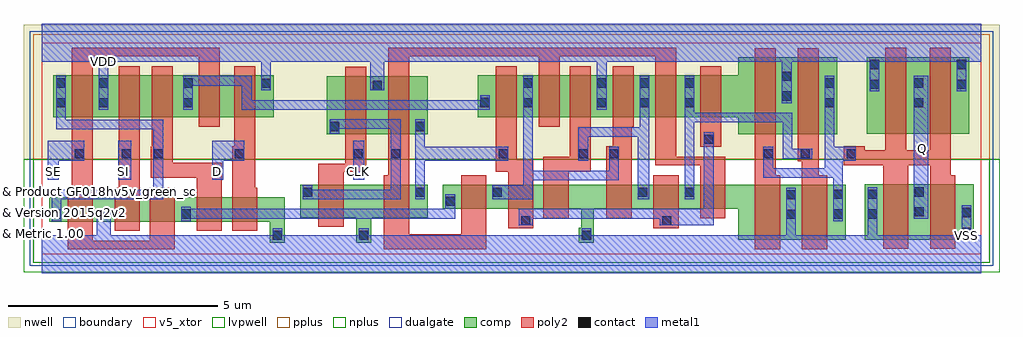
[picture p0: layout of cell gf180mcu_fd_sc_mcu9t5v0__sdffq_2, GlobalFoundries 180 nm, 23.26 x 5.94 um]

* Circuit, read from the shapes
.subckt gf180mcu_fd_sc_mcu9t5v0__sdffq_2 CLK D Q SE SI VDD VSS
XM1 VSS SE n1 VSUBS nfet_05v0 w=0.58u l=0.6u
XM2 n2 SI VSS VSUBS nfet_05v0 w=0.58u l=0.6u
XM3 n3 SE n2 VSUBS nfet_05v0 w=0.58u l=0.6u
XM4 n4 n1 n3 VSUBS nfet_05v0 w=0.58u l=0.6u
XM5 VSS D n4 VSUBS nfet_05v0 w=0.58u l=0.6u
XM6 VSS CLK n5 VSUBS nfet_05v0 w=0.79u l=0.6u
XM7 n6 n5 VSS VSUBS nfet_05v0 w=0.79u l=0.6u
XM8 n7 n5 n3 VSUBS nfet_05v0 w=0.58u l=0.6u
XM9 n8 n6 n7 VSUBS nfet_05v0 w=0.58u l=0.6u
XM10 VSS n9 n8 VSUBS nfet_05v0 w=0.58u l=0.6u
XM11 n9 n7 VSS VSUBS nfet_05v0 w=0.58u l=0.6u
XM12 n10 n6 n9 VSUBS nfet_05v0 w=0.58u l=0.6u
XM13 n11 n5 n10 VSUBS nfet_05v0 w=0.58u l=0.6u
XM14 VSS n12 n11 VSUBS nfet_05v0 w=1.32u l=0.6u
XM15 n12 n10 VSS VSUBS nfet_05v0 w=1.32u l=0.6u
XM16 Q n12 VSS VSUBS nfet_05v0 w=1.32u l=0.6u m=2
XM17 VDD SE n1 n13 pfet_05v0 w=1u l=0.5u
XM18 n14 SI VDD n13 pfet_05v0 w=1u l=0.5u
XM19 n15 n1 n14 n13 pfet_05v0 w=1u l=0.5u
XM20 n16 SE n15 n13 pfet_05v0 w=1u l=0.5u
XM21 VDD D n16 n13 pfet_05v0 w=1u l=0.5u
XM22 VDD CLK n5 n13 pfet_05v0 w=1.38u l=0.5u
XM23 n6 n5 VDD n13 pfet_05v0 w=1.38u l=0.5u
XM24 n7 n6 n15 n13 pfet_05v0 w=1u l=0.5u
XM25 n17 n5 n7 n13 pfet_05v0 w=1u l=0.5u
XM26 VDD n9 n17 n13 pfet_05v0 w=1u l=0.5u
XM27 n9 n7 VDD n13 pfet_05v0 w=1u l=0.5u
XM28 n10 n5 n9 n13 pfet_05v0 w=1u l=0.5u
XM29 n18 n6 n10 n13 pfet_05v0 w=1u l=0.5u
XM30 VDD n12 n18 n13 pfet_05v0 w=1.83u l=0.5u
XM31 n12 n10 VDD n13 pfet_05v0 w=1.83u l=0.5u
XM32 Q n12 VDD n13 pfet_05v0 w=1.83u l=0.5u m=2
.ends

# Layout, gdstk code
import gdstk
lib = gdstk.Library(unit=1e-6, precision=1e-09)
def R(c, l, rs):  # rectangles x0, y0, x1, y1
    for r in rs: c.add(gdstk.rectangle(r[:2], r[2:], *l))
def P(c, l, *ps):  # polygons
    for p in ps: c.add(gdstk.Polygon(p, *l))
boundary = (0, 0)
nwell = (21, 0)
comp = (22, 0)
poly2 = (30, 0)
pplus = (31, 0)
nplus = (32, 0)
contact = (33, 0)
metal1 = (34, 0)
dualgate = (55, 0)
v5_xtor = (112, 1)
lvpwell = (204, 0)

gf180mcu_fd_sc_mcu9t5v0_ = lib.new_cell('gf180mcu_fd_sc_mcu9t5v0__sdffq_2')
R(gf180mcu_fd_sc_mcu9t5v0_, boundary, [(0,0,22.4,5.04)])
R(gf180mcu_fd_sc_mcu9t5v0_, nwell, [(-0.43,2.265,22.83,5.47)])
R(gf180mcu_fd_sc_mcu9t5v0_, comp, [(19.62,0.345,22.22,1.665), (6.8,2.865,9.2,4.245), (19.67,2.87,22.105,4.7), (0.28,3.26,5.53,4.26)])
P(gf180mcu_fd_sc_mcu9t5v0_, comp, [(5.44,0.27),(5.44,0.78),(0.18,0.78),(0.18,1.36),(5.8,1.36),(5.8,0.27)],
  [(7.5,0.27),(7.5,0.87),(6.16,0.87),(6.16,1.66),(9.2,1.66),(9.2,0.87),(7.86,0.87),(7.86,0.27)],
  [(16.6,2.865),(16.6,3.26),(10.39,3.26),(10.39,4.26),(16.6,4.26),(16.6,4.695),(18.96,4.695),(18.96,2.865)],
  [(12.805,0.27),(12.805,0.63),(12.86,0.63),(12.86,1.08),(9.56,1.08),(9.56,1.66),(19.16,1.66),(19.16,0.34),(16.6,0.34),(16.6,1.08),(13.16,1.08),(13.16,0.59),(13.165,0.59),(13.165,0.27)])
R(gf180mcu_fd_sc_mcu9t5v0_, poly2, [(14.58,0.62,15.18,1.88), (15.7,2.56,16.2,4.48)])
P(gf180mcu_fd_sc_mcu9t5v0_, poly2, [(1.74,0.56),(1.74,1.58),(1.84,1.58),(1.84,4.48),(2.34,4.48),(2.34,0.56)],
  [(0.62,0.12),(0.62,1.58),(0.72,1.58),(0.72,4.92),(4.25,4.92),(4.25,3.04),(3.75,3.04),(3.75,4.72),(1.22,4.72),(1.22,0.32),(2.58,0.32),(2.58,1.58),(3.18,1.58),(3.18,0.12)],
  [(3.7,0.56),(3.7,1.82),(2.6,1.82),(2.6,2.565),(2.63,2.565),(2.63,4.48),(3.13,4.48),(3.13,2.18),(4.3,2.18),(4.3,0.56)],
  [(4.54,0.56),(4.54,2.575),(4.59,2.575),(4.59,4.48),(5.09,4.48),(5.09,1.58),(5.14,1.58),(5.14,0.56)],
  [(6.6,0.65),(6.6,2.16),(7.24,2.16),(7.24,4.465),(7.74,4.465),(7.74,1.96),(7.2,1.96),(7.2,0.65)],
  [(11.12,0.62),(11.12,1.96),(10.83,1.96),(10.83,4.48),(11.33,4.48),(11.33,2.255),(11.72,2.255),(11.72,0.62)],
  [(11.96,0.86),(11.96,2.32),(12.59,2.32),(12.59,4.48),(13.09,4.48),(13.09,1.96),(12.56,1.96),(12.56,0.86)],
  [(13.46,0.86),(13.46,2.575),(13.61,2.575),(13.61,4.48),(14.11,4.48),(14.11,3.04),(14.06,3.04),(14.06,0.86)],
  [(8.16,0.12),(8.16,1.88),(8.26,1.88),(8.26,4.92),(15.13,4.92),(15.13,2.32),(16.3,2.32),(16.3,0.86),(15.7,0.86),(15.7,2.12),(14.63,2.12),(14.63,4.72),(12.35,4.72),(12.35,3.04),(11.85,3.04),(11.85,4.72),(8.76,4.72),(8.76,0.48),(10,0.48),(10,1.88),(10.6,1.88),(10.6,0.12)],
  [(17,0.12),(17,4.915),(17.5,4.915),(17.5,1.88),(17.6,1.88),(17.6,0.12)],
  [(18.12,0.12),(18.12,2.215),(18.02,2.215),(18.02,4.915),(18.52,4.915),(18.52,1.88),(18.72,1.88),(18.72,0.12)],
  [(20.06,0.125),(20.06,2.12),(19.115,2.12),(19.115,2.575),(19.615,2.575),(19.615,2.48),(20.11,2.48),(20.11,4.92),(20.61,4.92),(20.61,2.48),(21.165,2.48),(21.165,4.92),(21.665,4.92),(21.665,1.885),(21.78,1.885),(21.78,0.125),(21.18,0.125),(21.18,2.12),(20.66,2.12),(20.66,0.125)])
R(gf180mcu_fd_sc_mcu9t5v0_, pplus, [(-0.2,2.265,22.6,5.24)])
R(gf180mcu_fd_sc_mcu9t5v0_, nplus, [(-0.2,-0.2,22.6,2.265)])
R(gf180mcu_fd_sc_mcu9t5v0_, contact, [(5.51,0.34,5.73,0.56), (7.57,0.34,7.79,0.56), (12.875,0.34,13.095,0.56), (21.93,0.415,22.15,0.635), (11.43,0.69,11.65,0.91), (14.79,0.69,15.01,0.91), (17.75,0.84,17.97,1.06), (0.25,0.85,0.47,1.07), (1.37,0.85,1.59,1.07), (3.33,0.85,3.55,1.07), (18.87,0.85,19.09,1.07), (19.69,0.85,19.91,1.07), (21.93,0.885,22.15,1.105), (20.81,0.905,21.03,1.125), (9.63,1.15,9.85,1.37), (17.75,1.31,17.97,1.53), (18.87,1.32,19.09,1.54), (19.69,1.32,19.91,1.54), (6.23,1.37,6.45,1.59), (8.91,1.37,9.13,1.59), (10.75,1.37,10.97,1.59), (14.21,1.37,14.43,1.59), (15.33,1.37,15.55,1.59), (20.81,1.375,21.03,1.595), (0.79,2.285,1.01,2.505), (1.91,2.285,2.13,2.505), (2.67,2.285,2.89,2.505), (4.61,2.285,4.83,2.505), (7.435,2.285,7.655,2.505), (8.33,2.285,8.55,2.505), (10.9,2.285,11.12,2.505), (12.8,2.285,13.02,2.505), (13.53,2.285,13.75,2.505), (17.21,2.285,17.43,2.505), (18.09,2.285,18.31,2.505), (19.185,2.285,19.405,2.505), (15.79,2.63,16.01,2.85), (6.87,2.935,7.09,3.155), (8.91,2.935,9.13,3.155), (0.35,3.5,0.57,3.72), (1.37,3.5,1.59,3.72), (3.38,3.5,3.6,3.72), (11.48,3.5,11.7,3.72), (13.24,3.5,13.46,3.72), (14.26,3.5,14.48,3.72), (15.33,3.5,15.55,3.72), (18.67,3.5,18.89,3.72), (20.795,3.5,21.015,3.72), (10.46,3.505,10.68,3.725), (17.65,3.66,17.87,3.88), (7.89,3.91,8.11,4.13), (19.74,3.94,19.96,4.16), (21.815,3.94,22.035,4.16), (5.24,3.965,5.46,4.185), (0.35,3.97,0.57,4.19), (1.37,3.97,1.59,4.19), (3.38,3.97,3.6,4.19), (11.48,3.97,11.7,4.19), (13.24,3.97,13.46,4.19), (14.26,3.97,14.48,4.19), (15.33,3.97,15.55,4.19), (18.67,3.97,18.89,4.19), (20.795,3.97,21.015,4.19), (17.65,4.13,17.87,4.35), (19.74,4.41,19.96,4.63), (21.815,4.41,22.035,4.63)])
R(gf180mcu_fd_sc_mcu9t5v0_, metal1, [(20.79,0.845,21.13,4.25), (1.83,1.77,2.135,2.71), (7.43,1.77,7.69,2.71)])
P(gf180mcu_fd_sc_mcu9t5v0_, metal1, [(0.15,1.77),(0.15,2.71),(1.015,2.71),(1.015,2.225),(0.41,2.225),(0.41,1.77)],
  [(0.245,0.79),(0.245,1.54),(2.665,1.54),(2.665,2.98),(0.345,2.98),(0.345,4.25),(0.575,4.25),(0.575,3.21),(2.895,3.21),(2.895,1.31),(0.475,1.31),(0.475,0.79)],
  [(4.07,1.77),(4.07,2.71),(4.835,2.71),(4.835,2.225),(4.33,2.225),(4.33,1.77)],
  [(6.225,1.31),(6.225,1.65),(6.455,1.65),(6.455,1.54),(8.325,1.54),(8.325,2.985),(7.095,2.985),(7.095,2.875),(6.865,2.875),(6.865,3.215),(8.555,3.215),(8.555,1.31)],
  [(3.325,0.79),(3.325,1.13),(3.555,1.13),(3.555,1.08),(9.625,1.08),(9.625,1.43),(9.855,1.43),(9.855,0.85),(3.555,0.85),(3.555,0.79)],
  [(3.375,3.44),(3.375,4.25),(5.005,4.25),(5.005,3.675),(10.455,3.675),(10.455,3.785),(10.685,3.785),(10.685,3.445),(4.775,3.445),(4.775,4.02),(3.605,4.02),(3.605,3.44)],
  [(8.905,1.31),(8.905,3.215),(9.135,3.215),(9.135,2.565),(11.125,2.565),(11.125,2.225),(9.135,2.225),(9.135,1.31)],
  [(10.745,1.31),(10.745,1.65),(11.475,1.65),(11.475,4.25),(11.705,4.25),(11.705,1.995),(13.525,1.995),(13.525,2.565),(13.755,2.565),(13.755,1.765),(11.705,1.765),(11.705,1.31)],
  [(14.205,1.31),(14.205,2.795),(13.025,2.795),(13.025,2.225),(12.795,2.225),(12.795,3.025),(14.255,3.025),(14.255,4.25),(14.485,4.25),(14.485,1.31)],
  [(11.37,0.685),(11.37,1.08),(15.785,1.08),(15.785,2.91),(16.015,2.91),(16.015,0.685),(14.73,0.685),(14.73,0.85),(11.71,0.85),(11.71,0.685)],
  [(15.325,1.31),(15.325,4.25),(15.555,4.25),(15.555,3.37),(17.895,3.37),(17.895,2.51),(18.37,2.51),(18.37,2.28),(17.665,2.28),(17.665,3.14),(15.555,3.14),(15.555,1.31)],
  [(18.865,0.79),(18.865,1.82),(17.205,1.82),(17.205,2.565),(17.435,2.565),(17.435,2.05),(18.665,2.05),(18.665,4.25),(18.895,4.25),(18.895,2.565),(19.41,2.565),(19.41,2.225),(19.095,2.225),(19.095,0.79)],
  [(0,-0.45),(0,0.45),(1.31,0.45),(1.31,1.075),(1.65,1.075),(1.65,0.45),(5.505,0.45),(5.505,0.62),(5.735,0.62),(5.735,0.45),(7.565,0.45),(7.565,0.62),(7.795,0.62),(7.795,0.45),(12.87,0.45),(12.87,0.62),(13.1,0.62),(13.1,0.45),(17.745,0.45),(17.745,1.59),(17.975,1.59),(17.975,0.45),(19.685,0.45),(19.685,1.6),(19.915,1.6),(19.915,0.45),(21.925,0.45),(21.925,1.165),(22.155,1.165),(22.155,0.45),(22.4,0.45),(22.4,-0.45)],
  [(1.365,3.44),(1.365,4.59),(0,4.59),(0,5.49),(22.4,5.49),(22.4,4.59),(22.04,4.59),(22.04,3.88),(21.81,3.88),(21.81,4.59),(19.965,4.59),(19.965,3.88),(19.735,3.88),(19.735,4.59),(17.875,4.59),(17.875,3.6),(17.645,3.6),(17.645,4.59),(13.465,4.59),(13.465,3.44),(13.235,3.44),(13.235,4.59),(8.17,4.59),(8.17,3.905),(7.83,3.905),(7.83,4.59),(5.465,4.59),(5.465,3.905),(5.235,3.905),(5.235,4.59),(1.595,4.59),(1.595,3.44)])
R(gf180mcu_fd_sc_mcu9t5v0_, dualgate, [(-0.28,-0.28,22.68,5.32)])
R(gf180mcu_fd_sc_mcu9t5v0_, v5_xtor, [(0,0,22.4,5.04)])
R(gf180mcu_fd_sc_mcu9t5v0_, lvpwell, [(-0.43,-0.43,22.83,2.265)])
gf180mcu_fd_sc_mcu9t5v0_.add(gdstk.Label('CLK', (7.56,1.96), layer=34, texttype=10))
gf180mcu_fd_sc_mcu9t5v0_.add(gdstk.Label('D', (4.2,1.96), layer=34, texttype=10))
gf180mcu_fd_sc_mcu9t5v0_.add(gdstk.Label('Q', (21,2.52), layer=34, texttype=10))
gf180mcu_fd_sc_mcu9t5v0_.add(gdstk.Label('SE', (0.28,1.96), layer=34, texttype=10))
gf180mcu_fd_sc_mcu9t5v0_.add(gdstk.Label('SI', (1.96,1.96), layer=34, texttype=10))
gf180mcu_fd_sc_mcu9t5v0_.add(gdstk.Label('VDD', (1.48,4.59), layer=34, texttype=10))
gf180mcu_fd_sc_mcu9t5v0_.add(gdstk.Label('VSS', (22.04,0.45), layer=34, texttype=10))
gf180mcu_fd_sc_mcu9t5v0_.add(gdstk.Label('& Vendor GLOBALFOUNDRIES', (0,2), layer=63, texttype=63))
gf180mcu_fd_sc_mcu9t5v0_.add(gdstk.Label('& Product GF018hv5v_green_sc9', (0,1.5), layer=63, texttype=63))
gf180mcu_fd_sc_mcu9t5v0_.add(gdstk.Label('& Version 2015q2v2', (0,1), layer=63, texttype=63))
gf180mcu_fd_sc_mcu9t5v0_.add(gdstk.Label('& Metric 1.00', (0,0.5), layer=63, texttype=63))

lib.write_gds('gf180mcu_fd_sc_mcu9t5v0__sdffq_2.gds')
